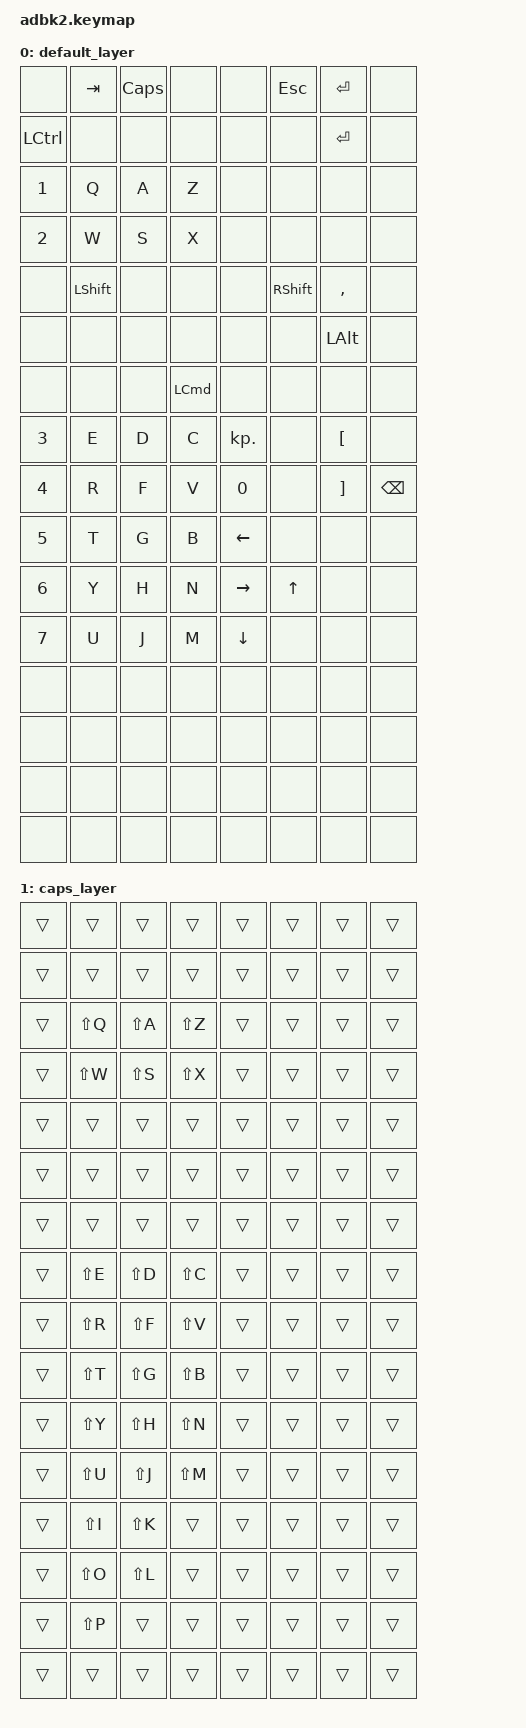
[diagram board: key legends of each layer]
#include <dt-bindings/zmk/keys.h>
#include <behaviors.dtsi>
#include <dt-bindings/zmk/bt.h>

#define DEFAULT     0
#define CAPS_LAYER  1

/ {
    keymap {
        compatible = "zmk,keymap";

        default_layer {
            bindings = <
                &none       &kp TAB     &kp CAPS    &none       &none        &kp ESC      &kp RET      &none
                &kp LCTRL   &none       &none       &none       &none        &none        &kp ENTER    &none
                &kp N1      &kp Q       &kp A       &kp Z       &none        &none        &none        &none
                &kp N2      &kp W       &kp S       &kp X       &none        &none        &none        &none
                &none       &kp LSHIFT  &none       &none       &none        &kp RSHIFT   &kp COMMA    &none
                &none       &none       &none       &none       &none        &none        &kp LALT     &none
                &none       &none       &none       &kp LCMD    &none        &none        &none        &none
                &kp N3      &kp E       &kp D       &kp C       &kp KP_DOT   &none        &kp LBKT     &none
                &kp N4      &kp R       &kp F       &kp V       &kp N0       &none        &kp RBKT     &kp BSPC
                &kp N5      &kp T       &kp G       &kp B       &kp LEFT     &none        &none        &none
                &kp N6      &kp Y       &kp H       &kp N       &kp RIGHT    &kp UP       &none        &none
                &kp N7      &kp U       &kp J       &kp M       &kp DOWN     &none        &none        &none
                &none       &none       &none       &none       &none        &none        &none        &none
                &none       &none       &none       &none       &none        &none        &none        &none
                &none       &none       &none       &none       &none        &none        &none        &none
                &none       &none       &none       &none       &none        &none        &none        &none
            >;
        };

        caps_layer {
            bindings = <
                &trans      &trans      &trans      &trans      &trans       &trans       &trans       &trans
                &trans      &trans      &trans      &trans      &trans       &trans       &trans       &trans
                &trans      &kp LS(Q)   &kp LS(A)   &kp LS(Z)   &trans       &trans       &trans       &trans
                &trans      &kp LS(W)   &kp LS(S)   &kp LS(X)   &trans       &trans       &trans       &trans
                &trans      &trans      &trans      &trans      &trans       &trans       &trans       &trans
                &trans      &trans      &trans      &trans      &trans       &trans       &trans       &trans
                &trans      &trans      &trans      &trans      &trans       &trans       &trans       &trans
                &trans      &kp LS(E)   &kp LS(D)   &kp LS(C)   &trans       &trans       &trans       &trans
                &trans      &kp LS(R)   &kp LS(F)   &kp LS(V)   &trans       &trans       &trans       &trans
                &trans      &kp LS(T)   &kp LS(G)   &kp LS(B)   &trans       &trans       &trans       &trans
                &trans      &kp LS(Y)   &kp LS(H)   &kp LS(N)   &trans       &trans       &trans       &trans
                &trans      &kp LS(U)   &kp LS(J)   &kp LS(M)   &trans       &trans       &trans       &trans
                &trans      &kp LS(I)   &kp LS(K)   &trans      &trans       &trans       &trans       &trans
                &trans      &kp LS(O)   &kp LS(L)   &trans      &trans       &trans       &trans       &trans
                &trans      &kp LS(P)   &trans      &trans      &trans       &trans       &trans       &trans
                &trans      &trans      &trans      &trans      &trans       &trans       &trans       &trans
            >;
        };
    };
};
